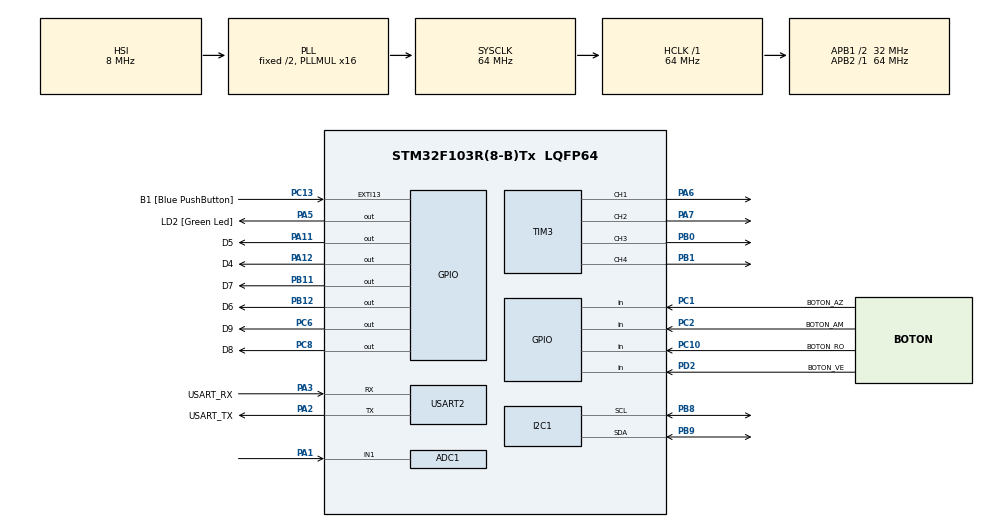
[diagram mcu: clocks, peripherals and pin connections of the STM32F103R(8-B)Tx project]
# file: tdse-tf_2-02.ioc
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ADC1.Channel-0\#ChannelRegularConversion=ADC_CHANNEL_1
ADC1.NbrOfConversionFlag=1
ADC1.Rank-0\#ChannelRegularConversion=1
ADC1.SamplingTime-0\#ChannelRegularConversion=ADC_SAMPLETIME_1CYCLE_5
ADC1.master=1
Mcu.Family=STM32F1
Mcu.Name=STM32F103R(8-B)Tx
Mcu.Package=LQFP64
NVIC.EXTI15_10_IRQn=true\:0\:0\:false\:false\:true\:true\:true\:true
NVIC.PriorityGroup=NVIC_PRIORITYGROUP_4
PA1.Signal=ADCx_IN1
PA11.GPIO_Label=D5
PA11.Signal=GPIO_Output
PA12.GPIO_Label=D4
PA12.Signal=GPIO_Output
PA13.GPIO_Label=TMS
PA13.Mode=Serial_Wire
PA13.Signal=SYS_JTMS-SWDIO
PA14.GPIO_Label=TCK
PA14.Mode=Serial_Wire
PA14.Signal=SYS_JTCK-SWCLK
PA2.GPIO_Label=USART_TX
PA2.GPIO_Mode=GPIO_MODE_AF_PP
PA2.GPIO_PuPd=GPIO_NOPULL
PA2.GPIO_Speed=GPIO_SPEED_FREQ_LOW
PA2.Mode=Asynchronous
PA2.Signal=USART2_TX
PA3.GPIO_Label=USART_RX
PA3.GPIO_Mode=GPIO_MODE_AF_PP
PA3.GPIO_PuPd=GPIO_NOPULL
PA3.GPIO_Speed=GPIO_SPEED_FREQ_LOW
PA3.Mode=Asynchronous
PA3.Signal=USART2_RX
PA5.GPIO_Label=LD2 [Green Led]
PA5.GPIO_ModeDefaultOutputPP=GPIO_MODE_OUTPUT_PP
PA5.GPIO_PuPd=GPIO_NOPULL
PA5.GPIO_Speed=GPIO_SPEED_FREQ_LOW
PA5.Signal=GPIO_Output
PA6.Signal=S_TIM3_CH1
PA7.Signal=S_TIM3_CH2
PB0.Signal=S_TIM3_CH3
PB1.Signal=S_TIM3_CH4
PB11.GPIO_Label=D7
PB11.Signal=GPIO_Output
PB12.GPIO_Label=D6
PB12.Signal=GPIO_Output
PB3.GPIO_Label=SWO
PB3.Signal=SYS_JTDO-TRACESWO
PB8.Mode=I2C
PB8.Signal=I2C1_SCL
PB9.Mode=I2C
PB9.Signal=I2C1_SDA
PC1.GPIO_Label=BOTON_AZ
PC1.Signal=GPIO_Input
PC10.GPIO_Label=BOTON_RO
PC10.Signal=GPIO_Input
PC13-TAMPER-RTC.GPIO_Label=B1 [Blue PushButton]
PC13-TAMPER-RTC.GPIO_PuPd=GPIO_NOPULL
PC13-TAMPER-RTC.Signal=GPXTI13
PC14-OSC32_IN.Mode=LSE-External-Oscillator
PC14-OSC32_IN.Signal=RCC_OSC32_IN
PC15-OSC32_OUT.Mode=LSE-External-Oscillator
PC15-OSC32_OUT.Signal=RCC_OSC32_OUT
PC2.GPIO_Label=BOTON_AM
PC2.Signal=GPIO_Input
PC6.GPIO_Label=D9
PC6.Signal=GPIO_Output
PC8.GPIO_Label=D8
PC8.Signal=GPIO_Output
PD0-OSC_IN.Mode=HSE-External-Clock-Source
PD0-OSC_IN.Signal=RCC_OSC_IN
PD1-OSC_OUT.Mode=HSE-External-Clock-Source
PD1-OSC_OUT.Signal=RCC_OSC_OUT
PD2.GPIO_Label=BOTON_VE
PD2.Signal=GPIO_Input
ProjectManager.HeapSize=0x200
ProjectManager.StackSize=0x400
ProjectManager.TargetToolchain=STM32CubeIDE
RCC.AHBFreq_Value=64000000
RCC.APB1CLKDivider=RCC_HCLK_DIV2
RCC.APB1Freq_Value=32000000
RCC.APB1TimFreq_Value=64000000
RCC.APB2Freq_Value=64000000
RCC.APB2TimFreq_Value=64000000
RCC.HCLKFreq_Value=64000000
RCC.PLLMUL=RCC_PLL_MUL16
RCC.RTCClockSelection=RCC_RTCCLKSOURCE_LSE
RCC.SYSCLKFreq_VALUE=64000000
RCC.SYSCLKSource=RCC_SYSCLKSOURCE_PLLCLK
RCC.USBFreq_Value=64000000
SH.ADCx_IN1.0=ADC1_IN1,IN1
SH.S_TIM3_CH1.0=TIM3_CH1,PWM Generation1 CH1
SH.S_TIM3_CH2.0=TIM3_CH2,PWM Generation2 CH2
SH.S_TIM3_CH3.0=TIM3_CH3,PWM Generation3 CH3
SH.S_TIM3_CH4.0=TIM3_CH4,PWM Generation4 CH4
TIM3.Channel-PWM\ Generation1\ CH1=TIM_CHANNEL_1
TIM3.Channel-PWM\ Generation2\ CH2=TIM_CHANNEL_2
TIM3.Channel-PWM\ Generation3\ CH3=TIM_CHANNEL_3
TIM3.Channel-PWM\ Generation4\ CH4=TIM_CHANNEL_4
USART2.VirtualMode=VM_ASYNC
board=NUCLEO-F103RB

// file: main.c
/* USER CODE BEGIN Header */
/**
  ******************************************************************************
  * @file           : main.c
  * @brief          : Main program body
  ******************************************************************************
  * @attention
  *
  * Copyright (c) 2025 STMicroelectronics.
  * All rights reserved.
  *
  * This software is licensed under terms that can be found in the LICENSE file
  * in the root directory of this software component.
  * If no LICENSE file comes with this software, it is provided AS-IS.
  *
  ******************************************************************************
  */
/* USER CODE END Header */
#include "main.h"

/* USER CODE BEGIN Includes */

/* Application includes. */
#include "logger.h"
#include "app.h"

/* USER CODE END Includes */

/* USER CODE BEGIN PD */

/* USER CODE BEGIN PD */

/* USER CODE END PD */

ADC_HandleTypeDef hadc1;

I2C_HandleTypeDef hi2c1;

TIM_HandleTypeDef htim3;

UART_HandleTypeDef huart2;

void SystemClock_Config(void);
static void MX_GPIO_Init(void);
static void MX_USART2_UART_Init(void);
static void MX_ADC1_Init(void);
static void MX_I2C1_Init(void);
static void MX_TIM3_Init(void);

/* USER CODE BEGIN 0 */
#if (1 == LOGGER_CONFIG_USE_SEMIHOSTING)

extern void initialise_monitor_handles(void);

#endif

/* USER CODE END 0 */

int main(void)
{

  /* USER CODE BEGIN 1 */
  #if (1 == LOGGER_CONFIG_USE_SEMIHOSTING)

  initialise_monitor_handles();

  #endif

  /* USER CODE END 1 */

  /* MCU Configuration--------------------------------------------------------*/

  /* Reset of all peripherals, Initializes the Flash interface and the Systick. */
  HAL_Init();

  /* Configure the system clock */
  SystemClock_Config();

  /* Initialize all configured peripherals */
  MX_GPIO_Init();
  MX_USART2_UART_Init();
  MX_ADC1_Init();
  MX_I2C1_Init();
  MX_TIM3_Init();
  /* USER CODE BEGIN 2 */

	/* Application Init */
	app_init();

  /* USER CODE END 2 */

  /* Infinite loop */
  while (1)
  {

    /* USER CODE BEGIN 3 */

    /* Application Update */
    app_update();

    // DORMIR CPU (BAJO CONSUMO)
    HAL_PWR_EnterSLEEPMode(PWR_MAINREGULATOR_ON, PWR_SLEEPENTRY_WFI);

  }
  /* USER CODE END 3 */
}

void SystemClock_Config(void)
{
  RCC_OscInitTypeDef RCC_OscInitStruct = {0};
  RCC_ClkInitTypeDef RCC_ClkInitStruct = {0};
  RCC_PeriphCLKInitTypeDef PeriphClkInit = {0};

  /** Initializes the RCC Oscillators according to the specified parameters
  * in the RCC_OscInitTypeDef structure.
  */
  RCC_OscInitStruct.OscillatorType = RCC_OSCILLATORTYPE_HSI;
  RCC_OscInitStruct.HSIState = RCC_HSI_ON;
  RCC_OscInitStruct.HSICalibrationValue = RCC_HSICALIBRATION_DEFAULT;
  RCC_OscInitStruct.PLL.PLLState = RCC_PLL_ON;
  RCC_OscInitStruct.PLL.PLLSource = RCC_PLLSOURCE_HSI_DIV2;
  RCC_OscInitStruct.PLL.PLLMUL = RCC_PLL_MUL16;
  if (HAL_RCC_OscConfig(&RCC_OscInitStruct) != HAL_OK)
  {
    Error_Handler();
  }

  /** Initializes the CPU, AHB and APB buses clocks
  */
  RCC_ClkInitStruct.ClockType = RCC_CLOCKTYPE_HCLK|RCC_CLOCKTYPE_SYSCLK
                              |RCC_CLOCKTYPE_PCLK1|RCC_CLOCKTYPE_PCLK2;
  RCC_ClkInitStruct.SYSCLKSource = RCC_SYSCLKSOURCE_PLLCLK;
  RCC_ClkInitStruct.AHBCLKDivider = RCC_SYSCLK_DIV1;
  RCC_ClkInitStruct.APB1CLKDivider = RCC_HCLK_DIV2;
  RCC_ClkInitStruct.APB2CLKDivider = RCC_HCLK_DIV1;

  if (HAL_RCC_ClockConfig(&RCC_ClkInitStruct, FLASH_LATENCY_2) != HAL_OK)
  {
    Error_Handler();
  }
  PeriphClkInit.PeriphClockSelection = RCC_PERIPHCLK_ADC;
  PeriphClkInit.AdcClockSelection = RCC_ADCPCLK2_DIV2;
  if (HAL_RCCEx_PeriphCLKConfig(&PeriphClkInit) != HAL_OK)
  {
    Error_Handler();
  }
}

static void MX_ADC1_Init(void)
{

  ADC_ChannelConfTypeDef sConfig = {0};

  /** Common config
  */
  hadc1.Instance = ADC1;
  hadc1.Init.ScanConvMode = ADC_SCAN_DISABLE;
  hadc1.Init.ContinuousConvMode = DISABLE;
  hadc1.Init.DiscontinuousConvMode = DISABLE;
  hadc1.Init.ExternalTrigConv = ADC_SOFTWARE_START;
  hadc1.Init.DataAlign = ADC_DATAALIGN_RIGHT;
  hadc1.Init.NbrOfConversion = 1;
  if (HAL_ADC_Init(&hadc1) != HAL_OK)
  {
    Error_Handler();
  }

  /** Configure Regular Channel
  */
  sConfig.Channel = ADC_CHANNEL_1;
  sConfig.Rank = ADC_REGULAR_RANK_1;
  sConfig.SamplingTime = ADC_SAMPLETIME_1CYCLE_5;
  if (HAL_ADC_ConfigChannel(&hadc1, &sConfig) != HAL_OK)
  {
    Error_Handler();
  }

}

static void MX_I2C1_Init(void)
{

  hi2c1.Instance = I2C1;
  hi2c1.Init.ClockSpeed = 100000; // PRUEBA: CAMBIARLO A 400000
  hi2c1.Init.DutyCycle = I2C_DUTYCYCLE_2;
  hi2c1.Init.OwnAddress1 = 0;
  hi2c1.Init.AddressingMode = I2C_ADDRESSINGMODE_7BIT;
  hi2c1.Init.DualAddressMode = I2C_DUALADDRESS_DISABLE;
  hi2c1.Init.OwnAddress2 = 0;
  hi2c1.Init.GeneralCallMode = I2C_GENERALCALL_DISABLE;
  hi2c1.Init.NoStretchMode = I2C_NOSTRETCH_DISABLE;
  if (HAL_I2C_Init(&hi2c1) != HAL_OK)
  {
    Error_Handler();
  }

}

static void MX_TIM3_Init(void)
{

  TIM_MasterConfigTypeDef sMasterConfig = {0};
  TIM_OC_InitTypeDef sConfigOC = {0};

  htim3.Instance = TIM3;
  htim3.Init.Prescaler = 0;
  htim3.Init.CounterMode = TIM_COUNTERMODE_UP;
  htim3.Init.Period = 65535;
  htim3.Init.ClockDivision = TIM_CLOCKDIVISION_DIV1;
  htim3.Init.AutoReloadPreload = TIM_AUTORELOAD_PRELOAD_DISABLE;
  if (HAL_TIM_PWM_Init(&htim3) != HAL_OK)
  {
    Error_Handler();
  }
  sMasterConfig.MasterOutputTrigger = TIM_TRGO_RESET;
  sMasterConfig.MasterSlaveMode = TIM_MASTERSLAVEMODE_DISABLE;
  if (HAL_TIMEx_MasterConfigSynchronization(&htim3, &sMasterConfig) != HAL_OK)
  {
    Error_Handler();
  }
  sConfigOC.OCMode = TIM_OCMODE_PWM1;
  sConfigOC.Pulse = 0;
  sConfigOC.OCPolarity = TIM_OCPOLARITY_HIGH;
  sConfigOC.OCFastMode = TIM_OCFAST_DISABLE;
  if (HAL_TIM_PWM_ConfigChannel(&htim3, &sConfigOC, TIM_CHANNEL_1) != HAL_OK)
  {
    Error_Handler();
  }
  if (HAL_TIM_PWM_ConfigChannel(&htim3, &sConfigOC, TIM_CHANNEL_2) != HAL_OK)
  {
    Error_Handler();
  }
  if (HAL_TIM_PWM_ConfigChannel(&htim3, &sConfigOC, TIM_CHANNEL_3) != HAL_OK)
  {
    Error_Handler();
  }
  if (HAL_TIM_PWM_ConfigChannel(&htim3, &sConfigOC, TIM_CHANNEL_4) != HAL_OK)
  {
    Error_Handler();
  }
  HAL_TIM_MspPostInit(&htim3);

}

static void MX_USART2_UART_Init(void)
{

  huart2.Instance = USART2;
  huart2.Init.BaudRate = 115200;
  huart2.Init.WordLength = UART_WORDLENGTH_8B;
  huart2.Init.StopBits = UART_STOPBITS_1;
  huart2.Init.Parity = UART_PARITY_NONE;
  huart2.Init.Mode = UART_MODE_TX_RX;
  huart2.Init.HwFlowCtl = UART_HWCONTROL_NONE;
  huart2.Init.OverSampling = UART_OVERSAMPLING_16;
  if (HAL_UART_Init(&huart2) != HAL_OK)
  {
    Error_Handler();
  }

}

static void MX_GPIO_Init(void)
{
  GPIO_InitTypeDef GPIO_InitStruct = {0};

  /* GPIO Ports Clock Enable */
  __HAL_RCC_GPIOC_CLK_ENABLE();
  __HAL_RCC_GPIOD_CLK_ENABLE();
  __HAL_RCC_GPIOA_CLK_ENABLE();
  __HAL_RCC_GPIOB_CLK_ENABLE();

  /*Configure GPIO pin Output Level */
  HAL_GPIO_WritePin(GPIOA, LD2_Pin|D5_Pin|D4_Pin, GPIO_PIN_RESET);

  /*Configure GPIO pin Output Level */
  HAL_GPIO_WritePin(GPIOB, D7_Pin|D6_Pin, GPIO_PIN_RESET);

  /*Configure GPIO pin Output Level */
  HAL_GPIO_WritePin(GPIOC, D9_Pin|D8_Pin, GPIO_PIN_RESET);

  /*Configure GPIO pin : B1_Pin */
  GPIO_InitStruct.Pin = B1_Pin;
  GPIO_InitStruct.Mode = GPIO_MODE_IT_RISING;
  GPIO_InitStruct.Pull = GPIO_NOPULL;
  HAL_GPIO_Init(B1_GPIO_Port, &GPIO_InitStruct);

  /*Configure GPIO pins : BOTON_AZ_Pin BOTON_AM_Pin BOTON_RO_Pin */
  GPIO_InitStruct.Pin = BOTON_AZ_Pin|BOTON_AM_Pin|BOTON_RO_Pin;
  GPIO_InitStruct.Mode = GPIO_MODE_INPUT;
  GPIO_InitStruct.Pull = GPIO_NOPULL;
  HAL_GPIO_Init(GPIOC, &GPIO_InitStruct);

  /*Configure GPIO pins : LD2_Pin D5_Pin D4_Pin */
  GPIO_InitStruct.Pin = LD2_Pin|D5_Pin|D4_Pin;
  GPIO_InitStruct.Mode = GPIO_MODE_OUTPUT_PP;
  GPIO_InitStruct.Pull = GPIO_NOPULL;
  GPIO_InitStruct.Speed = GPIO_SPEED_FREQ_LOW;
  HAL_GPIO_Init(GPIOA, &GPIO_InitStruct);

  /*Configure GPIO pins : D7_Pin D6_Pin */
  GPIO_InitStruct.Pin = D7_Pin|D6_Pin;
  GPIO_InitStruct.Mode = GPIO_MODE_OUTPUT_PP;
  GPIO_InitStruct.Pull = GPIO_NOPULL;
  GPIO_InitStruct.Speed = GPIO_SPEED_FREQ_LOW;
  HAL_GPIO_Init(GPIOB, &GPIO_InitStruct);

  /*Configure GPIO pins : D9_Pin D8_Pin */
  GPIO_InitStruct.Pin = D9_Pin|D8_Pin;
  GPIO_InitStruct.Mode = GPIO_MODE_OUTPUT_PP;
  GPIO_InitStruct.Pull = GPIO_NOPULL;
  GPIO_InitStruct.Speed = GPIO_SPEED_FREQ_LOW;
  HAL_GPIO_Init(GPIOC, &GPIO_InitStruct);

  /*Configure GPIO pin : BOTON_VE_Pin */
  GPIO_InitStruct.Pin = BOTON_VE_Pin;
  GPIO_InitStruct.Mode = GPIO_MODE_INPUT;
  GPIO_InitStruct.Pull = GPIO_NOPULL;
  HAL_GPIO_Init(BOTON_VE_GPIO_Port, &GPIO_InitStruct);

  /* EXTI interrupt init*/
  HAL_NVIC_SetPriority(EXTI15_10_IRQn, 0, 0);
  HAL_NVIC_EnableIRQ(EXTI15_10_IRQn);

}

/* USER CODE BEGIN 4 */

// --- STUBS PARA ARREGLAR ERROR DEL LINKER (_kill) ---
#include <sys/stat.h>

int _getpid(void) {
    return 1;
}

int _kill(int pid, int sig) {
    return -1;
}

/* USER CODE END 4 */

void Error_Handler(void)
{
  __disable_irq();
  while (1)
  {
  }
}
